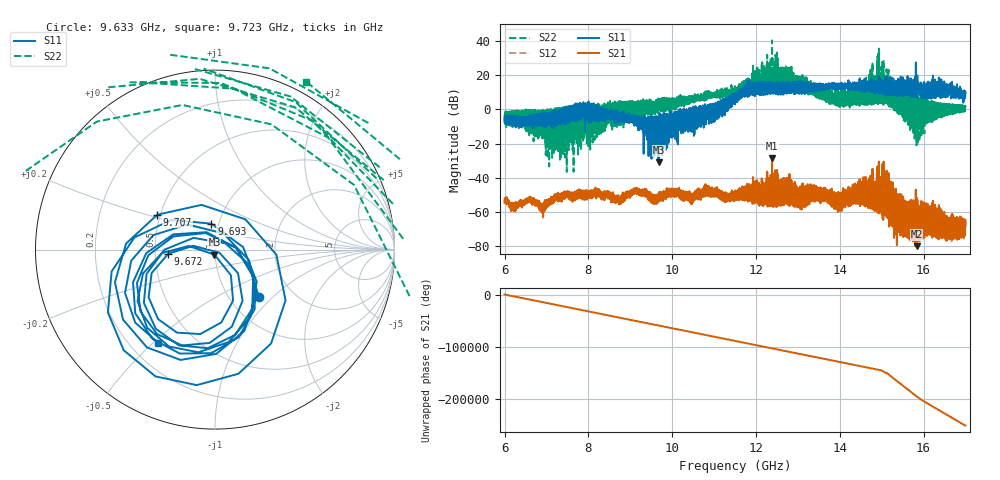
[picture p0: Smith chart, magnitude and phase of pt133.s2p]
#  HZ  S  RI  R  50.00
! Rohde & Schwarz Vector Network Analyzer
! Rohde-Schwarz,ZNA67-2Port,1332450062101215,3.01
! Created: UTC 10/19/2026, 5:51:54 PM
! freq[Hz]  re:S11  im:S11  re:S21  im:S21  re:S12  im:S12  re:S22  im:S22
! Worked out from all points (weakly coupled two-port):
!   11001 points, 6 GHz to 17 GHz, reference 50 ohm
!   highest |S21| = -28.71 dB at 12.38 GHz (marker M1); lowest = -80.1 dB at 15.83 GHz (marker M2)
!   lowest |S11| = -31.0 dB at 9.681 GHz (marker M3), VSWR 1.06, Z = 49.6 - j2.77 ohm
!   |S11| at or under -10 dB: 9.386569 GHz to 9.391338 GHz (4.769 MHz wide, 0.0508 % of centre); 9.398522 GHz to 9.403059 GHz (4.537 MHz wide, 0.0483 % of centre); 9.586583 GHz to 9.591012 GHz (4.428 MHz wide, 0.0462 % of centre) (the widest 3 of 118)
!   |S22| runs from -36.6 to 40.4 dB; largest |S21 - S12| = 0.002
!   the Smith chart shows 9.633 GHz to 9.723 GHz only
!   S11 on the Smith chart (normalised r, x): 9.633 GHz: 1.36, -0.82; 9.672 GHz: 0.59, -0.03; 9.693 GHz: 0.92, +0.27; 9.707 GHz: 0.48, +0.22; 9.723 GHz: 0.32, -0.52
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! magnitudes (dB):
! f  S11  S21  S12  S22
! 6 GHz  -5.3  -54.7  -54.9  -3.0
! 6.615 GHz  -3.6  -53.6  -53.7  -1.5
! 6.914 GHz  -6.4  -59.1  -59.3  -8.5
! 7.246 GHz  -1.7  -51.2  -51.1  -0.4
! 7.834 GHz  -3.9  -52.0  -51.8  -14.2
! 8.75 GHz  -2.3  -53.1  -52.5  3.4
! 9.141 GHz  -6.4  -48.2  -48.1  -3.4
! 9.633 GHz  -8.9  -52.9  -53.1  2.5
! 9.667 GHz  -7.1  -52.0  -52.4  -0.3
! 9.672 GHz  -11.6  -49.9  -50.2  4.4
! 9.681 GHz  -31.0  -51.6  -51.9  4.7
! 9.693 GHz  -16.7  -51.1  -51.3  4.6
! 9.707 GHz  -8.5  -48.5  -48.8  5.6
! 9.723 GHz  -4.3  -51.5  -51.8  0.5
! 11.5 GHz  4.1  -52.4  -52.5  9.4
! 12.38 GHz  10.1  -28.7  -28.7  40.4
! 13.33 GHz  11.6  -50.9  -50.7  10.9
! 13.96 GHz  13.8  -54.9  -55.4  4.3
! 14.55 GHz  12.0  -55.0  -55.1  3.9
! 15.17 GHz  10.7  -61.3  -61.4  4.1
! 15.83 GHz  10.3  -80.1  -80.2  -21.1
! 17 GHz  9.7  -68.2  -68.0  1.5
